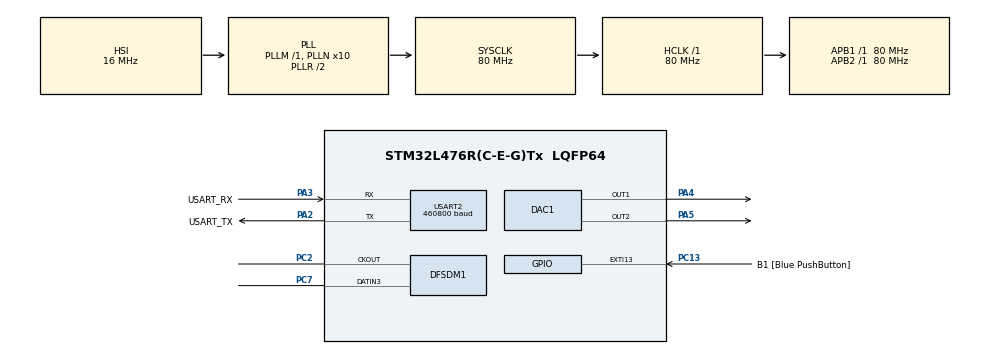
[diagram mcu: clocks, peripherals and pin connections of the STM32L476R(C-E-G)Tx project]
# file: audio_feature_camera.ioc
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DAC1.DAC_Channel-DAC_OUT2=DAC_CHANNEL_2
DAC1.DAC_Trigger-DAC_OUT1=DAC_TRIGGER_T6_TRGO
DAC1.DAC_Trigger-DAC_OUT2=DAC_TRIGGER_T6_TRGO
DFSDM1.Divider=32
DFSDM1.DmaMode_reg_FIL0=ENABLE
DFSDM1.DmaMode_reg_FIL1=ENABLE
DFSDM1.FastMode_reg_FIL0=ENABLE
DFSDM1.FastMode_reg_FIL1=ENABLE
DFSDM1.Filter_regChannel_FIL0=DFSDM_CHANNEL_2
DFSDM1.Filter_regChannel_FIL1=DFSDM_CHANNEL_3
DFSDM1.Fosr_FIL0=128
DFSDM1.Fosr_FIL1=128
DFSDM1.RightBitShift_CH2=0x06
DFSDM1.RightBitShift_CH3=0x06
DFSDM1.SincOrder_FIL0=DFSDM_FILTER_SINC3_ORDER
DFSDM1.SincOrder_FIL1=DFSDM_FILTER_SINC3_ORDER
DFSDM1.Type_spi_CH3=DFSDM_CHANNEL_SPI_FALLING
Dma.DAC_CH1.0.Direction=DMA_MEMORY_TO_PERIPH
Dma.DAC_CH1.0.Instance=DMA1_Channel3
Dma.DAC_CH1.0.MemDataAlignment=DMA_MDATAALIGN_HALFWORD
Dma.DAC_CH1.0.MemInc=DMA_MINC_ENABLE
Dma.DAC_CH1.0.Mode=DMA_CIRCULAR
Dma.DAC_CH1.0.PeriphDataAlignment=DMA_PDATAALIGN_HALFWORD
Dma.DAC_CH1.0.PeriphInc=DMA_PINC_DISABLE
Dma.DAC_CH1.0.Priority=DMA_PRIORITY_LOW
Dma.DAC_CH2.1.Direction=DMA_MEMORY_TO_PERIPH
Dma.DAC_CH2.1.Instance=DMA2_Channel5
Dma.DAC_CH2.1.MemDataAlignment=DMA_MDATAALIGN_HALFWORD
Dma.DAC_CH2.1.MemInc=DMA_MINC_ENABLE
Dma.DAC_CH2.1.Mode=DMA_CIRCULAR
Dma.DAC_CH2.1.PeriphDataAlignment=DMA_PDATAALIGN_HALFWORD
Dma.DAC_CH2.1.PeriphInc=DMA_PINC_DISABLE
Dma.DAC_CH2.1.Priority=DMA_PRIORITY_LOW
Dma.DFSDM1_FLT0.2.Direction=DMA_PERIPH_TO_MEMORY
Dma.DFSDM1_FLT0.2.Instance=DMA1_Channel4
Dma.DFSDM1_FLT0.2.MemDataAlignment=DMA_MDATAALIGN_WORD
Dma.DFSDM1_FLT0.2.MemInc=DMA_MINC_ENABLE
Dma.DFSDM1_FLT0.2.Mode=DMA_CIRCULAR
Dma.DFSDM1_FLT0.2.PeriphDataAlignment=DMA_PDATAALIGN_WORD
Dma.DFSDM1_FLT0.2.PeriphInc=DMA_PINC_DISABLE
Dma.DFSDM1_FLT0.2.Priority=DMA_PRIORITY_LOW
Dma.DFSDM1_FLT1.3.Direction=DMA_PERIPH_TO_MEMORY
Dma.DFSDM1_FLT1.3.Instance=DMA1_Channel5
Dma.DFSDM1_FLT1.3.MemDataAlignment=DMA_MDATAALIGN_WORD
Dma.DFSDM1_FLT1.3.MemInc=DMA_MINC_ENABLE
Dma.DFSDM1_FLT1.3.Mode=DMA_CIRCULAR
Dma.DFSDM1_FLT1.3.PeriphDataAlignment=DMA_PDATAALIGN_WORD
Dma.DFSDM1_FLT1.3.PeriphInc=DMA_PINC_DISABLE
Dma.DFSDM1_FLT1.3.Priority=DMA_PRIORITY_LOW
Dma.Request0=DAC_CH1
Dma.Request1=DAC_CH2
Dma.Request2=DFSDM1_FLT0
Dma.Request3=DFSDM1_FLT1
Dma.Request4=USART2_TX
Dma.USART2_TX.4.Direction=DMA_MEMORY_TO_PERIPH
Dma.USART2_TX.4.Instance=DMA1_Channel7
Dma.USART2_TX.4.MemDataAlignment=DMA_MDATAALIGN_BYTE
Dma.USART2_TX.4.MemInc=DMA_MINC_ENABLE
Dma.USART2_TX.4.Mode=DMA_NORMAL
Dma.USART2_TX.4.PeriphDataAlignment=DMA_PDATAALIGN_BYTE
Dma.USART2_TX.4.PeriphInc=DMA_PINC_DISABLE
Dma.USART2_TX.4.Priority=DMA_PRIORITY_LOW
Mcu.Family=STM32L4
Mcu.Name=STM32L476R(C-E-G)Tx
Mcu.Package=LQFP64
NVIC.DMA1_Channel3_IRQn=true\:0\:0\:false\:false\:true\:false
NVIC.DMA1_Channel4_IRQn=true\:0\:0\:false\:false\:true\:false
NVIC.DMA1_Channel5_IRQn=true\:0\:0\:false\:false\:true\:false
NVIC.DMA1_Channel7_IRQn=true\:0\:0\:false\:false\:true\:false
NVIC.DMA2_Channel5_IRQn=true\:0\:0\:false\:false\:true\:false
NVIC.EXTI15_10_IRQn=true\:0\:0\:false\:false\:true\:true
NVIC.PriorityGroup=NVIC_PRIORITYGROUP_4
NVIC.USART2_IRQn=true\:0\:0\:false\:false\:true\:true
PA13\ (JTMS-SWDIO).GPIO_Label=TMS
PA13\ (JTMS-SWDIO).Mode=Serial_Wire
PA13\ (JTMS-SWDIO).Signal=SYS_JTMS-SWDIO
PA14\ (JTCK-SWCLK).GPIO_Label=TCK
PA14\ (JTCK-SWCLK).Mode=Serial_Wire
PA14\ (JTCK-SWCLK).Signal=SYS_JTCK-SWCLK
PA2.GPIO_Label=USART_TX
PA2.GPIO_Mode=GPIO_MODE_AF_PP
PA2.GPIO_PuPd=GPIO_NOPULL
PA2.GPIO_Speed=GPIO_SPEED_FREQ_VERY_HIGH
PA2.Mode=Asynchronous
PA2.Signal=USART2_TX
PA3.GPIO_Label=USART_RX
PA3.GPIO_Mode=GPIO_MODE_AF_PP
PA3.GPIO_PuPd=GPIO_NOPULL
PA3.GPIO_Speed=GPIO_SPEED_FREQ_VERY_HIGH
PA3.Mode=Asynchronous
PA3.Signal=USART2_RX
PA4.Signal=COMP_DAC11_group
PA5.Signal=COMP_DAC12_group
PB3\ (JTDO-TRACESWO).GPIO_Label=SWO
PB3\ (JTDO-TRACESWO).Signal=SYS_JTDO-SWO
PC13.GPIO_Label=B1 [Blue PushButton]
PC13.GPIO_ModeDefaultEXTI=GPIO_MODE_IT_FALLING
PC13.GPIO_PuPd=GPIO_NOPULL
PC13.Signal=GPXTI13
PC2.Signal=S_CKOUTDFSDM1
PC7.Signal=S_DATAIN3DFSDM1
ProjectManager.HeapSize=0x200
ProjectManager.StackSize=0x400
ProjectManager.TargetToolchain=TrueSTUDIO
RCC.ADCFreq_Value=64000000
RCC.AHBFreq_Value=80000000
RCC.APB1Freq_Value=80000000
RCC.APB1TimFreq_Value=80000000
RCC.APB2Freq_Value=80000000
RCC.APB2TimFreq_Value=80000000
RCC.CortexFreq_Value=80000000
RCC.HCLKFreq_Value=80000000
RCC.HSE_VALUE=8000000
RCC.HSI_VALUE=16000000
RCC.LSE_VALUE=32768
RCC.MSI_VALUE=4000000
RCC.PLLN=10
RCC.PLLSourceVirtual=RCC_PLLSOURCE_HSI
RCC.PREFETCH_ENABLE=1
RCC.SYSCLKFreq_VALUE=80000000
RCC.SYSCLKSource=RCC_SYSCLKSOURCE_PLLCLK
RCC.USBFreq_Value=64000000
RCC.VCOOutputFreq_Value=160000000
SH.COMP_DAC11_group.0=DAC1_OUT1,DAC_OUT1
SH.COMP_DAC12_group.0=DAC1_OUT2,DAC_OUT2
SH.S_CKOUTDFSDM1.0=DFSDM1_CKOUT,PDM_SPI_input_from_ch3_and_internal_clock
SH.S_CKOUTDFSDM1.1=DFSDM1_CKOUT,PDM_SPI_Input_from_ch23_and_Internal_Clock
SH.S_DATAIN3DFSDM1.0=DFSDM1_DATIN3,PDM_SPI_input_from_ch3_and_internal_clock
SH.S_DATAIN3DFSDM1.1=DFSDM1_DATIN3,PDM_SPI_Input_from_ch23_and_Internal_Clock
TIM6.AutoReloadPreload=TIM_AUTORELOAD_PRELOAD_ENABLE
TIM6.Period=4095
TIM6.TIM_MasterOutputTrigger=TIM_TRGO_UPDATE
USART2.BaudRate=460800
USART2.VirtualMode-Asynchronous=VM_ASYNC
USART2.WordLength=WORDLENGTH_8B
VP_TIM6_VS_ClockSourceINT.Mode=Enable_Timer
board=NUCLEO-L476RG

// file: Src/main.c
/* USER CODE BEGIN Header */
/**
 ******************************************************************************
 * @file           : main.c
 * @brief          : Main program body
 ******************************************************************************
 ** This notice applies to any and all portions of this file
 * that are not between comment pairs USER CODE BEGIN and
 * USER CODE END. Other portions of this file, whether
 * inserted by the user or by software development tools
 * are owned by their respective copyright owners.
 *
 * COPYRIGHT(c) 2018 STMicroelectronics
 *
 * Redistribution and use in source and binary forms, with or without modification,
 * are permitted provided that the following conditions are met:
 *   1. Redistributions of source code must retain the above copyright notice,
 *      this list of conditions and the following disclaimer.
 *   2. Redistributions in binary form must reproduce the above copyright notice,
 *      this list of conditions and the following disclaimer in the documentation
 *      and/or other materials provided with the distribution.
 *   3. Neither the name of STMicroelectronics nor the names of its contributors
 *      may be used to endorse or promote products derived from this software
 *      without specific prior written permission.
 *
 * THIS SOFTWARE IS PROVIDED BY THE COPYRIGHT HOLDERS AND CONTRIBUTORS "AS IS"
 * AND ANY EXPRESS OR IMPLIED WARRANTIES, INCLUDING, BUT NOT LIMITED TO, THE
 * IMPLIED WARRANTIES OF MERCHANTABILITY AND FITNESS FOR A PARTICULAR PURPOSE ARE
 * DISCLAIMED. IN NO EVENT SHALL THE COPYRIGHT HOLDER OR CONTRIBUTORS BE LIABLE
 * FOR ANY DIRECT, INDIRECT, INCIDENTAL, SPECIAL, EXEMPLARY, OR CONSEQUENTIAL
 * DAMAGES (INCLUDING, BUT NOT LIMITED TO, PROCUREMENT OF SUBSTITUTE GOODS OR
 * SERVICES; LOSS OF USE, DATA, OR PROFITS; OR BUSINESS INTERRUPTION) HOWEVER
 * CAUSED AND ON ANY THEORY OF LIABILITY, WHETHER IN CONTRACT, STRICT LIABILITY,
 * OR TORT (INCLUDING NEGLIGENCE OR OTHERWISE) ARISING IN ANY WAY OUT OF THE USE
 * OF THIS SOFTWARE, EVEN IF ADVISED OF THE POSSIBILITY OF SUCH DAMAGE.
 *
 ******************************************************************************
 */
/* USER CODE END Header */

#include "main.h"
#include "dac.h"
#include "dfsdm.h"
#include "dma.h"
#include "tim.h"
#include "usart.h"
#include "gpio.h"

/* USER CODE BEGIN Includes */
#include "stdbool.h"
#include "arm_math.h"
#include "math.h"
#include "stdio.h"
#include "dsp.h"
#include "string.h"
/* USER CODE END Includes */

/* USER CODE BEGIN PV */

// N / 2
const int NN_HALF = NN / 2;

// N * 2
const int NN_DOUBLE = NN * 2;

// flag: "new PCM data has just been copied to buf"
volatile bool new_pcm_data_l_a = false;
volatile bool new_pcm_data_l_b = false;
volatile bool new_pcm_data_r_a = false;
volatile bool new_pcm_data_r_b = false;

// output trigger
volatile bool printing = false;

// UART output mode
volatile mode output_mode = FEATURES;
mode filter_type = FEATURES;  // Current filter bank

// UART one-byte input buffer
uint8_t rxbuf[1];

// Pre-emphasis toggle
volatile bool pre_emphasis_enabled = true;

// Beam forming setting
volatile angle_setting angle = CENTER;  // center
volatile beam_forming_setting beam_forming_mode = ENDFIRE;

// Debug
volatile debug debug_output = ELAPSED_TIME;
uint32_t elapsed_time = 0;

// Buffers
uint8_t mel_spectrogram_buffer[NUM_FILTERS * 200] = { 0.0f };
int8_t mfcc_buffer[NUM_FILTERS * 200] = { 0.0f };
int pos = 0;

/* Private variables ---------------------------------------------------------*/

/* USER CODE END PV */

void SystemClock_Config(void);
/* USER CODE BEGIN PFP */
/* Private function prototypes -----------------------------------------------*/

/* USER CODE END PFP */

/* USER CODE BEGIN 0 */

/*
 * Output raw wave or feature to UART by memory-to-peripheral DMA
 */
bool uart_tx(float32_t *in, mode mode, bool dma_start) {

  bool printing;
  int a, b, c;
  static int cnt = 0;
  static int length = 0;
  static int idx = 0;

  static char uart_buf[NUM_FILTERS * 200 * 2] = { 0 };

  if (cnt == 0) {
    idx = 0;

    switch (mode) {

    case RAW_WAVE:
      length = NN;
      cnt = 1;
      break;

    case FFT:
      length = NN / 2;
      cnt = 1;
      break;

    case SPECTROGRAM:
      length = NN / 2;
      cnt = 200;
      break;

    case FEATURES:
      break;

    default:
      length = 0;
      break;

    }
  }

  // Quantization: convert float into int
  if (mode == RAW_WAVE) {
    for (int n = 0; n < length; n++) {
      uart_buf[idx++] = (uint8_t) (((int16_t) in[n]) >> 8);      // MSB
      uart_buf[idx++] = (uint8_t) (((int16_t) in[n] & 0x00ff));  // LSB
    }
  } else if (mode == FEATURES) {
    a = pos * NUM_FILTERS;
    b = (200 - pos) * NUM_FILTERS;
    c = 200 * NUM_FILTERS;
    // Time series order
    memcpy(uart_buf + b, mel_spectrogram_buffer, a);
    memcpy(uart_buf, mel_spectrogram_buffer + a, b);
    memcpy(uart_buf + b + c, mfcc_buffer, a);
    memcpy(uart_buf + c, mfcc_buffer + a, b);
  } else {
    for (int n = 0; n < length; n++) {
      uart_buf[idx++] = (uint8_t) in[n];
    }
  }

  // memory-to-peripheral DMA to UART
  if (mode == FEATURES) {
    HAL_UART_Transmit_DMA(&huart2, (uint8_t *) uart_buf, NUM_FILTERS * 200 * 2);
    printing = false;
  } else if (--cnt == 0) {
    HAL_UART_Transmit_DMA(&huart2, (uint8_t *) uart_buf, idx);
    printing = false;
  } else if (dma_start) {
    HAL_UART_Transmit_DMA(&huart2, (uint8_t *) uart_buf, idx);
    idx = 0;
    printing = true;
  } else {
    printing = true;
  }

  return printing;
}

/*
 * DSP pipeline
 */
void dsp(float32_t *s1, mode mode) {

  uint32_t start = 0;
  uint32_t end = 0;

  start = HAL_GetTick();

  apply_ac_coupling(s1);  // remove DC

  if (mode >= FFT) {
    apply_hann(s1);
    apply_fft(s1);
    apply_psd_logscale(s1);
  }
  if (mode >= FEATURES) {
    apply_filterbank(s1);
    for (int i = 0; i < NUM_FILTERS; i++) {
      mel_spectrogram_buffer[pos * NUM_FILTERS + i] = (uint8_t) s1[i];
    }
    apply_dct2(s1);
    for (int i = 0; i < NUM_FILTERS; i++) {
      mfcc_buffer[pos * NUM_FILTERS + i] = (int8_t) s1[i];
    }
  }
  if (++pos >= 200)
    pos = 0;

  end = HAL_GetTick();
  elapsed_time = end - start;
}

/*
 * Overlap dsp for spectrogram calculation
 *
 * 26.3msec          13.2msec stride
 * --- overlap dsp -------------
 * [b0|a0]            a(1/2) ... 13.2msec
 *    [a0|a1]         a(2/2) ... 13.2msec
 * --- overlap dsp -------------
 *       [a1|b0]      b(1/2) ... 13.2msec
 *          [b0|b1]   b(2/2) ... 13.2msec
 * --- overlap dsp -------------
 *             :
 */
void overlap_dsp(float32_t *buf, mode mode) {

  float32_t signal[NN] = { 0.0f };

  arm_copy_f32(buf, signal, NN);
  dsp(signal, mode);  // (1/2)
  if (printing) {
    printing = uart_tx(signal, mode, false);  // false: UART output pending
  }

  arm_copy_f32(buf + NN_HALF, signal, NN);
  dsp(signal, mode);  // (2/2)
  if (printing) {
    printing = uart_tx(signal, mode, true);  // true: UART output
  }

}

/*
 * Dump debug info
 */
void dump(void) {
  if (debug_output != DISABLED) {
    switch (debug_output) {
    case FILTERBANK:
      for (int m = 0; m < NUM_FILTERS + 2; m++) {
        for (int n = 0; n < FILTER_LENGTH; n++) {
          printf("%.3f,", filterbank[m][n]);
        }
        printf("\n");
      }
      printf("e\n");
      break;
    case ELAPSED_TIME:
      printf("mode: %d, elapsed_time: %lu(msec)\n", output_mode, elapsed_time);
      break;
    default:
      break;
    }
    debug_output = DISABLED;
  }
}

/*
 * Apply beam forming and pre-emphasis
 */
void beam_forming(float32_t *signal, int32_t *l, int32_t *r,
    beam_forming_setting mode, int direction) {

  switch (mode) {
  case BROADSIDE:
    for (uint32_t n = 0; n < NN; n++) {
      signal[n] = (float32_t) (l[n + direction] >> 9)
          + (float32_t) (r[n + 2] >> 9);
    }
    break;
  case ENDFIRE:
    if (direction != 2) {
      for (uint32_t n = 0; n < NN; n++) {
        signal[n] = (float32_t) (l[n + 2] >> 9)
            - (float32_t) (r[n + direction] >> 9);
      }
    } else {  // Synchronous addition of data from two microphones
      for (uint32_t n = 0; n < NN; n++) {
        signal[n] = (float32_t) (l[n + 2] >> 9) + (float32_t) (r[n + 2] >> 9);
      }
    }
    break;
  case LEFT_MIC_ONLY:
    for (uint32_t n = 0; n < NN; n++) {
      signal[n] = (float32_t) (l[n + 2] >> 9);
    }
    break;
  case RIGHT_MIC_ONLY:
    for (uint32_t n = 0; n < NN; n++) {
      signal[n] = (float32_t) (r[n + 2] >> 9);
    }
    break;
  }

}

void pre_emphasis(float32_t *signal, int direction) {
  if (pre_emphasis_enabled) {
    if (beam_forming_mode == ENDFIRE && direction != 2) {
      apply_weak_pre_emphasis(signal);
    } else {
      apply_pre_emphasis(signal);
    }
  }
}

/* USER CODE END 0 */

int main(void)
{
  /* USER CODE BEGIN 1 */

  // Audio sample rate and period
  float32_t f_s;

  // DMA peripheral-to-memory double buffer
  int32_t input_buf_r[NN * 2 + 5] = { 0 };
  int32_t input_buf_l[NN * 2 + 5] = { 0 };

  // DMA memory-to-peripheral double buffer
  volatile uint16_t dac_out_buf_a[NN * 2] = { 0 };
  volatile uint16_t dac_out_buf_b[NN * 2] = { 0 };

  // PCM data store for further processing (FFT etc)
  float32_t signal_buf[NN + NN / 2] = { 0.0f };  // NN/2 overlap

  // n + NN
  int n_nn = 0;

  /* USER CODE END 1 */

  /* MCU Configuration--------------------------------------------------------*/

  /* Reset of all peripherals, Initializes the Flash interface and the Systick. */
  HAL_Init();

  /* Configure the system clock */
  SystemClock_Config();

  /* Initialize all configured peripherals */
  MX_GPIO_Init();
  MX_DMA_Init();
  MX_USART2_UART_Init();
  MX_DAC1_Init();
  MX_TIM6_Init();
  MX_DFSDM1_Init();
  /* USER CODE BEGIN 2 */

  f_s = SystemCoreClock / hdfsdm1_channel2.Init.OutputClock.Divider
      / hdfsdm1_filter0.Init.FilterParam.Oversampling
      / hdfsdm1_filter0.Init.FilterParam.IntOversampling;

  // DSP initialization
  init_dsp(f_s);

  // Start timer 6 and DAC for DMA
  HAL_TIM_Base_Start(&htim6);
  HAL_DAC_Start(&hdac1, DAC_CHANNEL_1);
  HAL_DAC_Start_DMA(&hdac1, DAC_CHANNEL_1, (uint32_t*) dac_out_buf_a, NN * 2,
  DAC_ALIGN_12B_R);
  HAL_DAC_Start(&hdac1, DAC_CHANNEL_2);
  HAL_DAC_Start_DMA(&hdac1, DAC_CHANNEL_2, (uint32_t*) dac_out_buf_b, NN * 2,
  DAC_ALIGN_12B_R);

  HAL_Delay(1);

  // Enable DMA from DFSDM to buf (peripheral to memory)
  // Note: filter1 for left channel is started after filter 0 for right channel
  if (HAL_DFSDM_FilterRegularStart_DMA(&hdfsdm1_filter0, input_buf_r + 5,
  NN * 2) != HAL_OK) {
    Error_Handler();
  }
  if (HAL_DFSDM_FilterRegularStart_DMA(&hdfsdm1_filter1, input_buf_l + 5,
  NN * 2) != HAL_OK) {
    Error_Handler();
  }

  // Enable UART receive interrupt to receive a command
  // from an application processor
  HAL_UART_Receive_IT(&huart2, rxbuf, 1);

  /* USER CODE END 2 */

  /* Infinite loop */
  /* USER CODE BEGIN WHILE */
  while (1) {
    // Wait for next PCM samples from M1
    if (new_pcm_data_l_a) {  // 1st half of the buffer

      // Overlap
      arm_copy_f32(signal_buf + NN, signal_buf, NN_HALF);

      // Beam forming
      beam_forming(signal_buf + NN_HALF, input_buf_l, input_buf_r,
          beam_forming_mode, angle);

      // Pre-emphasis
      pre_emphasis(signal_buf + NN_HALF, angle);

      // Overlap dsp
      overlap_dsp(signal_buf, output_mode);

      // Output PCM data to DAC
      // Note: the signal after dsp for ML should be something like artificial.
      // Move the following code before dsp, if you want to monitor natural sound.
      for (uint32_t n = 0; n < NN; n++) {
        dac_out_buf_a[n] = (uint16_t) (((int32_t) signal_buf[n] >> 4) + 2048); // 12bit quantization
        dac_out_buf_b[n] = dac_out_buf_a[n];
      }

      new_pcm_data_l_a = false;

    }

    if (new_pcm_data_l_b) {  // 2nd half of the buffer

      // Buffering PCM data for beam forming: n=2 is center
      for (int n = 0; n < 5; n++) {
        input_buf_l[n] = input_buf_l[NN_DOUBLE + n];
        input_buf_r[n] = input_buf_r[NN_DOUBLE + n];
      }

      // Overlap
      arm_copy_f32(signal_buf + NN, signal_buf, NN_HALF);

      // Beam forming
      beam_forming(signal_buf + NN_HALF, input_buf_l + NN, input_buf_r + NN,
          beam_forming_mode, angle);

      // Pre-emphasis
      pre_emphasis(signal_buf + NN_HALF, angle);

      // Overlap dsp
      overlap_dsp(signal_buf, output_mode);

      // Output PCM data to DAC
      for (uint32_t n = 0; n < NN; n++) {
        n_nn = n + NN;
        dac_out_buf_a[n_nn] =
            (uint16_t) (((int32_t) signal_buf[n] >> 4) + 2048); // 12bit quantization
        dac_out_buf_b[n_nn] = dac_out_buf_a[n_nn];
      }

      new_pcm_data_l_b = false;
    }

    // Dump debug info
    dump();

    /* USER CODE END WHILE */

  }
}

void SystemClock_Config(void)
{
  RCC_OscInitTypeDef RCC_OscInitStruct = {0};
  RCC_ClkInitTypeDef RCC_ClkInitStruct = {0};
  RCC_PeriphCLKInitTypeDef PeriphClkInit = {0};

  /**Initializes the CPU, AHB and APB busses clocks
  */
  RCC_OscInitStruct.OscillatorType = RCC_OSCILLATORTYPE_HSI;
  RCC_OscInitStruct.HSIState = RCC_HSI_ON;
  RCC_OscInitStruct.HSICalibrationValue = RCC_HSICALIBRATION_DEFAULT;
  RCC_OscInitStruct.PLL.PLLState = RCC_PLL_ON;
  RCC_OscInitStruct.PLL.PLLSource = RCC_PLLSOURCE_HSI;
  RCC_OscInitStruct.PLL.PLLM = 1;
  RCC_OscInitStruct.PLL.PLLN = 10;
  RCC_OscInitStruct.PLL.PLLP = RCC_PLLP_DIV7;
  RCC_OscInitStruct.PLL.PLLQ = RCC_PLLQ_DIV2;
  RCC_OscInitStruct.PLL.PLLR = RCC_PLLR_DIV2;
  if (HAL_RCC_OscConfig(&RCC_OscInitStruct) != HAL_OK)
  {
    Error_Handler();
  }
  /**Initializes the CPU, AHB and APB busses clocks
  */
  RCC_ClkInitStruct.ClockType = RCC_CLOCKTYPE_HCLK|RCC_CLOCKTYPE_SYSCLK
                              |RCC_CLOCKTYPE_PCLK1|RCC_CLOCKTYPE_PCLK2;
  RCC_ClkInitStruct.SYSCLKSource = RCC_SYSCLKSOURCE_PLLCLK;
  RCC_ClkInitStruct.AHBCLKDivider = RCC_SYSCLK_DIV1;
  RCC_ClkInitStruct.APB1CLKDivider = RCC_HCLK_DIV1;
  RCC_ClkInitStruct.APB2CLKDivider = RCC_HCLK_DIV1;

  if (HAL_RCC_ClockConfig(&RCC_ClkInitStruct, FLASH_LATENCY_4) != HAL_OK)
  {
    Error_Handler();
  }
  PeriphClkInit.PeriphClockSelection = RCC_PERIPHCLK_USART2|RCC_PERIPHCLK_DFSDM1;
  PeriphClkInit.Usart2ClockSelection = RCC_USART2CLKSOURCE_PCLK1;
  PeriphClkInit.Dfsdm1ClockSelection = RCC_DFSDM1CLKSOURCE_PCLK;
  if (HAL_RCCEx_PeriphCLKConfig(&PeriphClkInit) != HAL_OK)
  {
    Error_Handler();
  }
  /**Configure the main internal regulator output voltage
  */
  if (HAL_PWREx_ControlVoltageScaling(PWR_REGULATOR_VOLTAGE_SCALE1) != HAL_OK)
  {
    Error_Handler();
  }
}

/* USER CODE BEGIN 4 */
/**
 * @brief  Half regular conversion complete callback.
 * @param  hdfsdm_filter DFSDM filter handle.
 * @retval None
 */
void HAL_DFSDM_FilterRegConvHalfCpltCallback(
    DFSDM_Filter_HandleTypeDef *hdfsdm_filter) {
  if (!new_pcm_data_l_a && (hdfsdm_filter == &hdfsdm1_filter0)) {
    new_pcm_data_l_a = true;  // ready for 1st half of the buffer
  }
  if (!new_pcm_data_r_a && (hdfsdm_filter == &hdfsdm1_filter1)) {
    //new_pcm_data_r_a = true;
  }
}

/**
 * @brief  Regular conversion complete callback.
 * @note   In interrupt mode, user has to read conversion value in this function
 using HAL_DFSDM_FilterGetRegularValue.
 * @param  hdfsdm_filter : DFSDM filter handle.
 * @retval None
 */
void HAL_DFSDM_FilterRegConvCpltCallback(
    DFSDM_Filter_HandleTypeDef *hdfsdm_filter) {
  if (!new_pcm_data_l_b && (hdfsdm_filter == &hdfsdm1_filter0)) {
    new_pcm_data_l_b = true;  // ready for 2nd half of the buffer
  }
  if (!new_pcm_data_r_b && (hdfsdm_filter == &hdfsdm1_filter1)) {
    //new_pcm_data_r_b = true;
  }
}

/**
 * @brief  Retargets the C library printf function to the USART.
 * @param  None
 * @retval None
 */
int _write(int file, char *ptr, int len) {
  HAL_UART_Transmit(&huart2, (uint8_t *) ptr, (uint16_t) len, 0xFFFFFFFF);
  return len;
}

//  (This func is commented out: for a debug purpose only)
void HAL_GPIO_EXTI_Callback(uint16_t GPIO_Pin) {
  if (GPIO_Pin == GPIO_PIN_13) {  // User button (blue tactile switch)
    //
  }
}

/*
 * One-byte command reception from an application processor
 */
void HAL_UART_RxCpltCallback(UART_HandleTypeDef *huart) {
  char cmd;

  cmd = rxbuf[0];

  switch (cmd) {

  // Pre-emphasis
  case 'P':
    pre_emphasis_enabled = true;
    break;
  case 'p':
    pre_emphasis_enabled = false;
    break;

    // Beam forming
  case 'L':
    angle = LEFT2;
    break;
  case 'l':
    angle = LEFT;
    break;
  case 'c':
    angle = CENTER;
    break;
  case 'r':
    angle = RIGHT;
    break;
  case 'R':
    angle = RIGHT2;
    break;
  case 'b':
    beam_forming_mode = BROADSIDE;
    break;
  case 'e':
    beam_forming_mode = ENDFIRE;
    break;
  case '[':
    beam_forming_mode = LEFT_MIC_ONLY;
    break;
  case ']':
    beam_forming_mode = RIGHT_MIC_ONLY;
    break;
  case 'f':
    debug_output = FILTERBANK;
    break;
  case 't':
    debug_output = ELAPSED_TIME;
    break;
    // The others
  default:
    output_mode = (mode) (cmd - 0x30);
    printing = true;
    break;
  }

  HAL_UART_Receive_IT(&huart2, rxbuf, 1);
}

/* USER CODE END 4 */

void Error_Handler(void)
{
  while (1) {
  }
}

/************************ (C) COPYRIGHT STMicroelectronics *****END OF FILE****/
